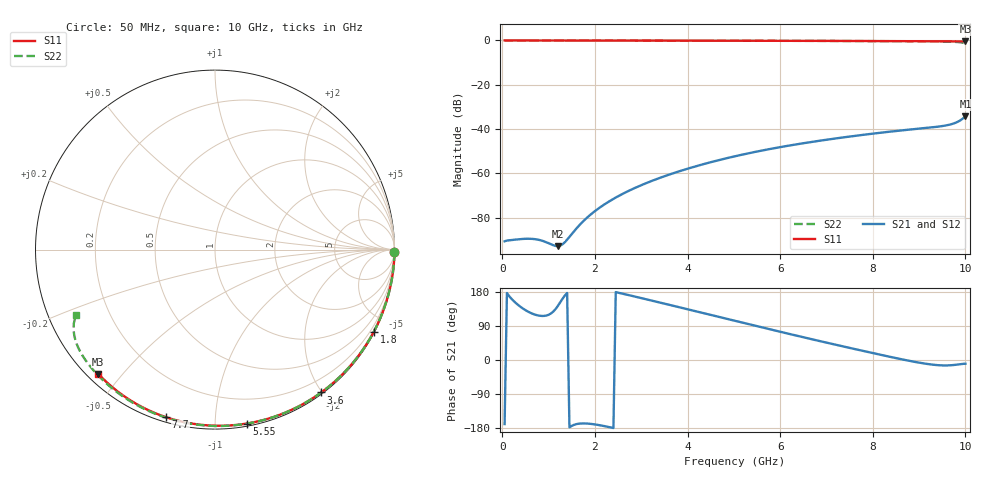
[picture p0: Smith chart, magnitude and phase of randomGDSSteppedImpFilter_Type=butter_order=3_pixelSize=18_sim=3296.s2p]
! freq	dB(S11)	phase(S11)	dB(S12)	phase(S12)
!  dB(S21)	phase(S21)	dB(S22)	phase(S22)
!S-par simulation data
#  GHz  S  DB  R 50
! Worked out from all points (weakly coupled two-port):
!   200 points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, 50 MHz to 10 GHz, reference 50 ohm
!   highest |S21| = -34.26 dB at 10 GHz (marker M1); lowest = -92.9 dB at 1.2 GHz (marker M2)
!   lowest |S11| = -0.4 dB at 10 GHz (marker M3), VSWR 39.13, Z = 1.52 - j21.6 ohm
!   |S11| at or under -10 dB: nowhere
!   |S22| runs from -1.3 to 0.0 dB; largest |S21 - S12| = 0
!   S11 on the Smith chart (normalised r, x): 50 MHz: open; 1.8 GHz: 0.04, -4.12; 3.6 GHz: 0.02, -1.99; 5.55 GHz: 0.02, -1.20; 7.7 GHz: 0.02, -0.75; 10 GHz: 0.03, -0.43
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0.05  -0.00 -0.8  -90.74 -169.1  -90.74 -169.1  -0.00 -0.8
0.6  -0.01 -9.2  -89.60 124.9  -89.60 124.9  -0.01 -9.9
1.2  -0.02 -18.3  -92.94 142.7  -92.94 142.7  -0.02 -19.7
1.75  -0.03 -26.6  -81.64 -167.3  -81.64 -167.3  -0.04 -28.6
1.8  -0.03 -27.3  -80.63 -167.4  -80.63 -167.4  -0.04 -29.4
1.85  -0.04 -28.0  -79.69 -167.8  -79.69 -167.8  -0.04 -30.2
2.2  -0.04 -33.2  -74.14 -174.3  -74.14 -174.3  -0.05 -35.7
2.55  -0.05 -38.3  -69.83 176.4  -69.83 176.4  -0.05 -41.2
2.95  -0.06 -44.1  -65.84 164.9  -65.84 164.9  -0.06 -47.5
3.4  -0.07 -50.5  -62.10 151.7  -62.10 151.7  -0.07 -54.3
3.6  -0.07 -53.4  -60.63 145.8  -60.63 145.8  -0.08 -57.4
4.3  -0.09 -63.1  -56.14 125.1  -56.14 125.1  -0.10 -67.8
5.05  -0.11 -73.1  -52.20 102.7  -52.20 102.7  -0.12 -78.6
5.55  -0.13 -79.7  -49.97 87.8  -49.97 87.8  -0.14 -85.6
6.7  -0.18 -94.2  -45.78 54.3  -45.78 54.3  -0.19 -101.3
7.7  -0.24 -106.4  -42.88 26.5  -42.88 26.5  -0.26 -114.7
8.35  -0.29 -114.1  -41.25 8.9  -41.25 8.9  -0.31 -123.3
9.1  -0.35 -122.8  -39.64 -9.0  -39.64 -9.0  -0.39 -133.9
9.6  -0.40 -128.6  -38.32 -14.4  -38.32 -14.4  -0.51 -142.4
9.75  -0.42 -130.3  -37.49 -13.2  -37.49 -13.2  -0.61 -145.8
9.85  -0.43 -131.4  -36.58 -11.7  -36.58 -11.7  -0.74 -148.7
10  -0.44 -133.2  -34.26 -9.9  -34.26 -9.9  -1.33 -154.7
